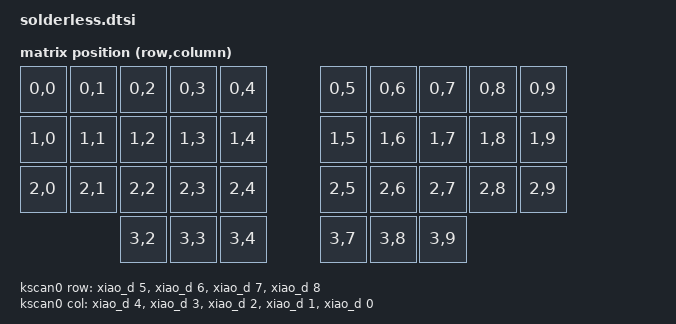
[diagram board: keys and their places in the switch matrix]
/*
 * Copyright (c) 2020 The ZMK Contributors
 *
 * SPDX-License-Identifier: MIT
 */

#include <dt-bindings/led/led.h>
#include <dt-bindings/zmk/matrix_transform.h>

/ {

	chosen {
		zmk,kscan = &kscan0;
		zmk,matrix_transform = &default_transform;
		zmk,underglow = &led_strip;
	};

	default_transform: keymap_transform_0 {
		compatible = "zmk,matrix-transform";
		columns = <10>;
		rows = <4>;
		map = <
		RC(0,0)  RC(0,1)  RC(0,2)  RC(0,3)  RC(0,4)    RC(0,5) RC(0,6) RC(0,7) RC(0,8) RC(0,9)
		RC(1,0)  RC(1,1)  RC(1,2)  RC(1,3)  RC(1,4)    RC(1,5) RC(1,6) RC(1,7) RC(1,8) RC(1,9)
		RC(2,0)  RC(2,1)  RC(2,2)  RC(2,3)  RC(2,4)    RC(2,5) RC(2,6) RC(2,7) RC(2,8) RC(2,9)
		                  RC(3,2)  RC(3,3)  RC(3,4)    RC(3,7) RC(3,8) RC(3,9)
		>;
	};

	kscan0: kscan_0 {
        compatible = "zmk,kscan-gpio-matrix";
        label = "KSCAN";
        
        diode-direction = "col2row"; 
        row-gpios
            = <&xiao_d 5 (GPIO_ACTIVE_HIGH | GPIO_PULL_DOWN)>
            , <&xiao_d 6 (GPIO_ACTIVE_HIGH | GPIO_PULL_DOWN)>
            , <&xiao_d 7 (GPIO_ACTIVE_HIGH | GPIO_PULL_DOWN)>
            , <&xiao_d 8 (GPIO_ACTIVE_HIGH | GPIO_PULL_DOWN)>
            ;

        col-gpios
	        = <&xiao_d 4 GPIO_ACTIVE_HIGH>
	        , <&xiao_d 3 GPIO_ACTIVE_HIGH>
	        , <&xiao_d 2 GPIO_ACTIVE_HIGH>
	        , <&xiao_d 1 GPIO_ACTIVE_HIGH>
	        , <&xiao_d 0 GPIO_ACTIVE_HIGH>
        	;
    };

	// Node name must match original "EXT_POWER" label to preserve user settings.
    EXT_POWER {
        compatible = "zmk,ext-power-generic";
        control-gpios = <&xiao_d 9 GPIO_ACTIVE_HIGH>;
        init-delay-ms = <50>;
    };
};

&pinctrl {
    spi3_default: spi3_default {
        group1 {
            psels = <NRF_PSEL(SPIM_MOSI, 1, 15)>;
        };
    };

    spi3_sleep: spi3_sleep {
        group1 {
            psels = <NRF_PSEL(SPIM_MOSI, 1, 15)>;
            low-power-enable;
        };
    };
};

&spi3 {
    compatible = "nordic,nrf-spim";
    status = "okay";

    pinctrl-0 = <&spi3_default>;
    pinctrl-1 = <&spi3_sleep>;
    pinctrl-names = "default", "sleep";

    led_strip: ws2812@0 {
        compatible = "worldsemi,ws2812-spi";

        /* SPI */
        reg = <0>;
        spi-max-frequency = <4000000>;

        /* WS2812 */
        chain-length = <18>; /* number of LEDs */
        spi-one-frame = <0x70>;
        spi-zero-frame = <0x40>;

        color-mapping = <LED_COLOR_ID_GREEN
                        LED_COLOR_ID_RED
                        LED_COLOR_ID_BLUE>;
    };
};
